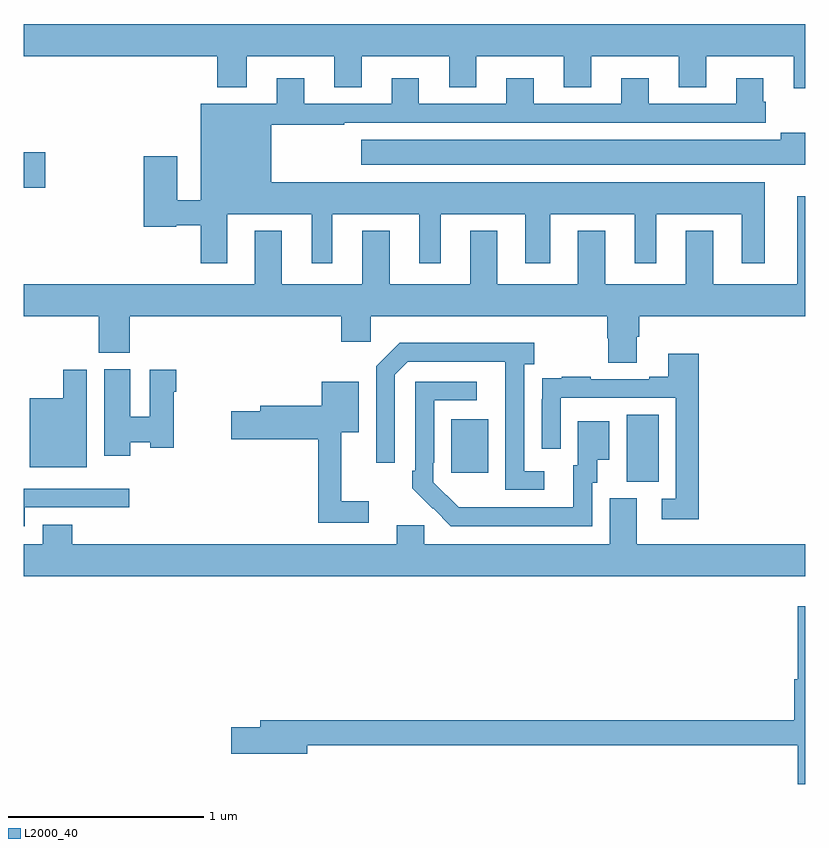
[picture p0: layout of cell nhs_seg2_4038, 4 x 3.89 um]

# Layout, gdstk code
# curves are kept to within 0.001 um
import gdstk
lib = gdstk.Library(unit=1e-6, precision=1e-09)
def R(c, l, rs):  # rectangles x0, y0, x1, y1
    for r in rs: c.add(gdstk.rectangle(r[:2], r[2:], *l))
def P(c, l, *ps):  # polygons
    for p in ps: c.add(gdstk.Polygon(p, *l))
L2000_40 = (2000, 40)

nhs_seg2_4038 = lib.new_cell('nhs_seg2_4038')
R(nhs_seg2_4038, L2000_40, [(330.086,649.453,330.25,649.796), (329.189,649.497,329.377,649.771), (327,650.957,327.109,651.14)])
P(nhs_seg2_4038, L2000_40, [(331,651.796),(327,651.796),(327,651.632),(327.989,651.632),(327.989,651.473),(328.141,651.473),(328.141,651.632),(328.589,651.632),(328.589,651.472),(328.729,651.472),(328.729,651.632),(329.177,651.632),(329.177,651.472),(329.317,651.472),(329.317,651.632),(329.765,651.632),(329.765,651.472),(329.905,651.472),(329.905,651.632),(330.353,651.632),(330.353,651.472),(330.493,651.472),(330.493,651.632),(330.941,651.632),(330.941,651.468),(331,651.468)],
  [(328.042,650.822),(328.475,650.822),(328.475,650.571),(328.579,650.571),(328.579,650.822),(329.024,650.822),(329.024,650.571),(329.134,650.571),(329.134,650.822),(329.567,650.822),(329.567,650.571),(329.695,650.571),(329.695,650.822),(330.128,650.822),(330.128,650.571),(330.238,650.571),(330.238,650.822),(330.677,650.822),(330.677,650.571),(330.793,650.571),(330.793,650.986),(328.267,650.986),(328.267,651.279),(328.64,651.279),(328.64,651.291),(330.8,651.291),(330.8,651.399),(330.787,651.399),(330.787,651.517),(330.647,651.517),(330.647,651.387),(330.199,651.387),(330.199,651.517),(330.059,651.517),(330.059,651.387),(329.611,651.387),(329.611,651.517),(329.471,651.517),(329.471,651.387),(329.023,651.387),(329.023,651.517),(328.883,651.517),(328.883,651.387),(328.435,651.387),(328.435,651.517),(328.295,651.517),(328.295,651.388),(327.905,651.388),(327.905,650.894),(327.784,650.894),(327.784,651.118),(327.614,651.118),(327.614,650.758),(327.78,650.758),(327.78,650.766),(327.905,650.766),(327.905,650.571),(328.042,650.571)],
  [(331,651.238),(330.875,651.238),(330.875,651.202),(328.728,651.202),(328.728,651.074),(331,651.074)],
  [(328.181,650.737),(328.181,650.464),(327,650.464),(327,650.3),(327.382,650.3),(327.382,650.113),(327.542,650.113),(327.542,650.3),(328.625,650.3),(328.625,650.169),(328.776,650.169),(328.776,650.3),(329.987,650.3),(329.987,650.187),(329.992,650.187),(329.992,650.062),(330.139,650.062),(330.139,650.194),(330.152,650.194),(330.152,650.3),(331,650.3),(331,650.914),(330.959,650.914),(330.959,650.464),(330.529,650.464),(330.529,650.737),(330.389,650.737),(330.389,650.464),(329.977,650.464),(329.977,650.737),(329.837,650.737),(329.837,650.464),(329.425,650.464),(329.425,650.737),(329.285,650.737),(329.285,650.464),(328.873,650.464),(328.873,650.737),(328.733,650.737),(328.733,650.464),(328.321,650.464),(328.321,650.737)],
  [(329.665,649.506),(329.562,649.506),(329.562,650.054),(329.614,650.054),(329.614,650.164),(328.924,650.164),(328.803,650.043),(328.803,649.548),(328.899,649.548),(328.899,650.001),(328.965,650.067),(329.465,650.067),(329.466,649.41),(329.665,649.41)],
  [(330.455,650.107),(330.299,650.107),(330.299,649.99),(330.203,649.99),(330.203,649.977),(329.903,649.977),(329.903,649.99),(329.755,649.99),(329.755,649.983),(329.653,649.983),(329.653,649.874),(329.652,649.874),(329.652,649.62),(329.748,649.62),(329.748,649.881),(330.339,649.881),(330.339,649.365),(330.267,649.365),(330.267,649.26),(330.455,649.26)],
  [(327.544,649.655),(327.648,649.655),(327.648,649.625),(327.766,649.625),(327.766,649.913),(327.779,649.913),(327.779,650.026),(327.644,650.026),(327.644,649.785),(327.544,649.785),(327.544,650.028),(327.41,650.028),(327.41,649.584),(327.544,649.584)],
  [(327.322,650.026),(327.2,650.026),(327.2,649.879),(327.029,649.879),(327.029,649.526),(327.322,649.526)],
  [(329.91,649.446),(329.935,649.446),(329.935,649.565),(329.998,649.565),(329.998,649.762),(329.837,649.762),(329.837,649.536),(329.813,649.536),(329.813,649.32),(329.226,649.321),(329.097,649.449),(329.097,649.549),(329.1,649.549),(329.1,649.869),(329.32,649.869),(329.32,649.965),(329.004,649.965),(329.004,649.507),(328.989,649.507),(328.989,649.419),(329.186,649.224),(329.91,649.224)],
  [(328.765,649.351),(328.625,649.351),(328.625,649.706),(328.714,649.706),(328.714,649.963),(328.526,649.963),(328.526,649.842),(328.211,649.842),(328.211,649.812),(328.062,649.812),(328.062,649.67),(328.507,649.67),(328.507,649.242),(328.765,649.242)],
  [(327.003,649.32),(327.538,649.32),(327.538,649.416),(327,649.416),(327,649.224),(327.003,649.224)],
  [(331,649.132),(330.139,649.132),(330.139,649.368),(329.999,649.368),(329.999,649.132),(329.049,649.132),(329.049,649.23),(328.91,649.23),(328.91,649.132),(327.248,649.132),(327.248,649.231),(327.095,649.231),(327.095,649.132),(327,649.132),(327,648.968),(331,648.968)],
  [(331,648.814),(330.962,648.814),(330.962,648.441),(330.944,648.441),(330.944,648.23),(328.211,648.23),(328.211,648.194),(328.062,648.194),(328.062,648.059),(328.45,648.059),(328.45,648.102),(330.962,648.102),(330.962,647.904),(331,647.904)])

lib.write_gds('nhs_seg2_4038.gds')
